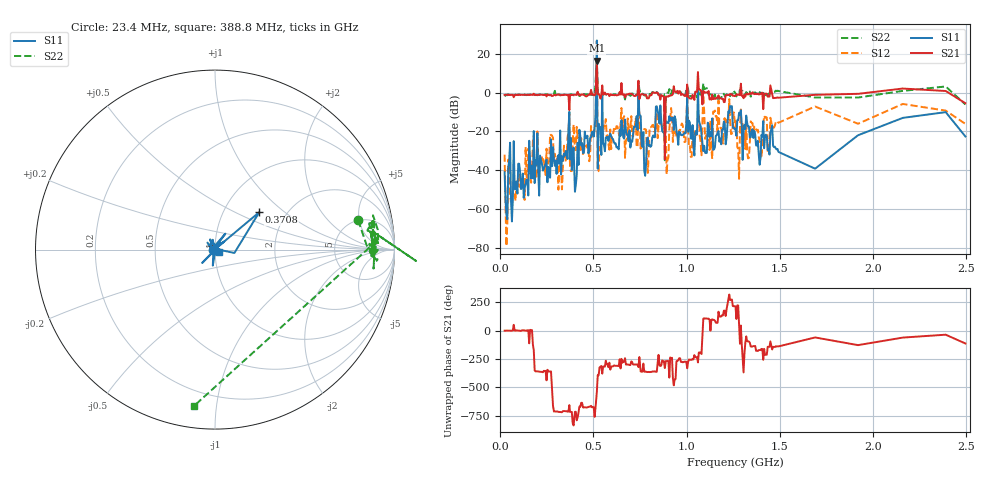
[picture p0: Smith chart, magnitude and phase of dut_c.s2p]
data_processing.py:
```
import pandas as pd
import numpy as np


def calculate_error_coefficients():
    match1_df = pd.read_csv('./data/match1_pha_corr.csv')
    match2_df = pd.read_csv('./data/match2_pha_corr.csv')
    open1_df = pd.read_csv('./data/open1_pha_corr.csv')
    open2_df = pd.read_csv('./data/open2_pha_corr.csv')
    short1_df = pd.read_csv('./data/short1_pha_corr.csv')
    short2_df = pd.read_csv('./data/short2_pha_corr.csv')
    thru_df = pd.read_csv('./data/thru_pha_corr.csv')

     

    match1_df["s11_m1"] = match1_df["Magnitude 1"] * np.exp(1j * np.radians(match1_df["Phase 1"]))
    open1_df['s11_o1'] = open1_df["Magnitude 1"] * np.exp(1j * np.radians(open1_df["Phase 1"]))
    short1_df['s11_s1'] = short1_df["Magnitude 1"] * np.exp(1j * np.radians(short1_df["Phase 1"]))

    match2_df["s22_m2"] = match2_df["Magnitude 1"] * np.exp(1j * np.radians(match2_df["Phase 1"]))
    open2_df['s22_o2'] = open2_df["Magnitude 1"] * np.exp(1j * np.radians(open2_df["Phase 1"]))
    short2_df['s22_s2'] = short2_df["Magnitude 1"] * np.exp(1j * np.radians(short2_df["Phase 1"]))

    thru_df['s11_t'] = thru_df["Magnitude 1"] * np.exp(1j * np.radians(thru_df["Phase 1"]))
    thru_df['s12_t'] = thru_df["Magnitude 2"] * np.exp(1j * np.radians(thru_df["Phase 2"]))
    thru_df['s22_t'] = thru_df["Magnitude 3"] * np.exp(1j * np.radians(thru_df["Phase 3"]))
    thru_df['s21_t'] = thru_df["Magnitude 4"] * np.exp(1j * np.radians(thru_df["Phase 4"]))

    errors_df = pd.DataFrame()

    errors_df['frequency'] = match1_df['Frequency']

    errors_df['e00'] = match1_df['s11_m1']
    errors_df['e11'] = (open1_df['s11_o1'] + short1_df['s11_s1'] - 2*errors_df['e00'])/(open1_df['s11_o1'] - short1_df['s11_s1'])
    errors_df['e1001'] = (-2*(open1_df['s11_o1'] - errors_df['e00'])*(short1_df['s11_s1'] - errors_df['e00']))/(open1_df['s11_o1'] - short1_df['s11_s1'])

    errors_df['deltae'] = errors_df['e00'] * errors_df['e11'] - errors_df['e1001']

    errors_df['e22'] = (thru_df['s11_t'] - errors_df['e00']) / (thru_df['s11_t']*errors_df['e11'] - errors_df['deltae'])
    errors_df['e1032'] = (thru_df['s21_t'])*(1 - errors_df['e11']*errors_df['e22'])

    errors_df['e33'] = match2_df['s22_m2']
    errors_df['e_22'] = (open2_df['s22_o2'] + short2_df['s22_s2'] - 2*errors_df['e33'])/(open2_df['s22_o2'] - short2_df['s22_s2'])
    errors_df['e2332'] = (-2 * (open2_df['s22_o2'] - errors_df['e33']) * (short2_df['s22_s2'] - errors_df['e33'])) / (open2_df['s22_o2'] - short2_df['s22_s2'])

    errors_df['deltaeprima'] = errors_df['e33'] * errors_df['e_22'] - errors_df['e2332']

    errors_df['e_11'] = (thru_df['s22_t'] - errors_df['e33']) / (thru_df['s22_t']*errors_df['e_22'] - errors_df['deltaeprima'])
    errors_df['e2301'] = (thru_df['s12_t'])*(1 - errors_df['e33']*errors_df['e_11'])

    errors_df.to_csv("./data/errors_df.csv")



def calculate_dut_coefficients():
    errors_df = pd.read_csv('./data/errors_df.csv').astype(complex)
    dut_med_df = pd.read_csv('./data/dut_med_corr.csv')
    dut_med_df['s11_m'] = dut_med_df["Magnitude 1"] * np.exp(1j * np.radians(dut_med_df["Phase 1"]))
    dut_med_df['s12_m'] = dut_med_df["Magnitude 2"] * np.exp(1j * np.radians(dut_med_df["Phase 2"]))
    dut_med_df['s22_m'] = dut_med_df["Magnitude 3"] * np.exp(1j * np.radians(dut_med_df["Phase 3"]))
    dut_med_df['s21_m'] = dut_med_df["Magnitude 4"] * np.exp(1j * np.radians(dut_med_df["Phase 4"]))
    N_df = pd.DataFrame()
    N_df['N11'] = (dut_med_df['s11_m'] - errors_df['e00']) / errors_df['e1001']
    N_df['N12'] = (dut_med_df['s12_m']) / (errors_df['e2301'])
    N_df['N22'] = (dut_med_df['s22_m'] - errors_df['e33']) / errors_df['e2332']
    N_df['N21'] = (dut_med_df['s21_m']) / (errors_df['e1032'])
    D_df = pd.DataFrame()
    D_df['D'] = (1 + N_df['N11'] * errors_df['e11']) * (1 + N_df['N22'] * errors_df['e_22']) - N_df['N21'] * N_df['N12'] * errors_df['e22'] * errors_df['e_11']
    dut_c_complex_df = pd.DataFrame()
    dut_c_complex_df['s11_c'] = ((N_df['N11'] * (1 + N_df['N22'] * errors_df['e_22'])) - errors_df['e22'] * N_df['N21'] * N_df['N12']) / D_df['D']
    dut_c_complex_df['s12_c'] = (N_df['N12'] * (1 + N_df['N11'] * (errors_df['e11'] - errors_df['e_11']))) / D_df['D']
    dut_c_complex_df['s22_c'] = ((N_df['N22'] * (1 + N_df['N11'] * errors_df['e11'])) - errors_df['e_11'] * N_df['N21'] * N_df['N12']) / D_df['D']
    dut_c_complex_df['s21_c'] = (N_df['N21'] * (1 + N_df['N22'] * (errors_df['e_22'] - errors_df['e22']))) / D_df['D']
    dut_c_complex_df.to_csv("./data/dut_c_complex.csv")

    dut_c_df = pd.DataFrame()
    dut_c_df['freq'] = abs(errors_df['frequency']*1e5)
    dut_c_df['s11_mag'] = 20*np.log10(abs(dut_c_complex_df['s11_c']))
    dut_c_df['s11_pha'] = np.degrees(np.angle(dut_c_complex_df['s11_c']))
    dut_c_df['s21_mag'] = 20*np.log10(abs(dut_c_complex_df['s21_c']))
    dut_c_df['s21_pha'] = np.degrees(np.angle(dut_c_complex_df['s21_c']))
    dut_c_df['s22_mag'] = 20*np.log10(abs(dut_c_complex_df['s22_c']))
    dut_c_df['s22_pha'] = np.degrees(np.angle(dut_c_complex_df['s22_c']))
    dut_c_df['s12_mag'] = 20*np.log10(abs(dut_c_complex_df['s12_c']))
    dut_c_df['s12_pha'] = np.degrees(np.angle(dut_c_complex_df['s12_c']))
    df_cleaned = dut_c_df[~dut_c_df['freq'].duplicated(keep=False)]
    df_cleaned.to_csv("./data/dut_c.csv")
    df_cleaned.to_csv("./data/dut_c.s2p", sep='\t', header=False, index=False)

    s2p_header = "# Hz S DB R 50.000000\n"
    with open("./data/dut_c.s2p", "r") as file:
        lines = file.readlines()

    with open("./data/dut_c.s2p", "w") as file:
        file.write(s2p_header)
        file.writelines(lines)
```
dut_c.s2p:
# Hz S DB R 50.000000
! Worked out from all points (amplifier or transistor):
!   306 points, 23.4 MHz to 2.496 GHz, reference 50 ohm
!   highest |S21| = 16.5 dB at 518.4 MHz (marker M1)
!   |S21| within 3 dB of that: 517.1681 MHz to 519.2333 MHz (2.065 MHz wide, 0.399 % of centre)
!   unconditionally stable (mu >= 1): start of sweep to 290.1 MHz; 295.3 MHz to 409 MHz; 420 MHz to 483.8 MHz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
!   at 272.4 MHz: K = 1.66, MAG = 5.7 dB, |S12| = -21.9 dB
!   at 772.8 MHz: K = 1.37, MAG = 5.3 dB, |S12| = -18.8 dB
!   at 2.496 GHz: K = 4.50, MAG = -4.1 dB, |S12| = -16.1 dB
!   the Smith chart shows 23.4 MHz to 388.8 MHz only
!   S11 on the Smith chart (normalised r, x): 23.4 MHz: 0.98, -0.00; 370.8 MHz: 1.47, +0.68; 388.8 MHz: 1.04, -0.03
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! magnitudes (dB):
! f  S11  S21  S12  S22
! 23.4 MHz  -41.0  -1.1  -31.9  -1.8
! 33.3 MHz  -63.3  -1.0  -79.2  -1.1
! 43 MHz  -38.8  -1.1  -34.6  -0.8
! 370.8 MHz  -9.8  -9.0  -11.0  -1.1
! 388.8 MHz  -31.5  -1.1  -26.4  -1.1
! 477.6 MHz  -29.9  -0.9  -35.4  -1.0
! 518.4 MHz  27.0  16.5  26.8  17.3
! 523.2 MHz  -39.2  -0.7  -40.6  -0.7
! 547.2 MHz  -0.6  3.8  -20.6  -1.5
! 1.262 GHz  -19.3  -1.6  -17.6  -0.3
! 2.496 GHz  -22.6  -5.4  -16.1  -6.0
